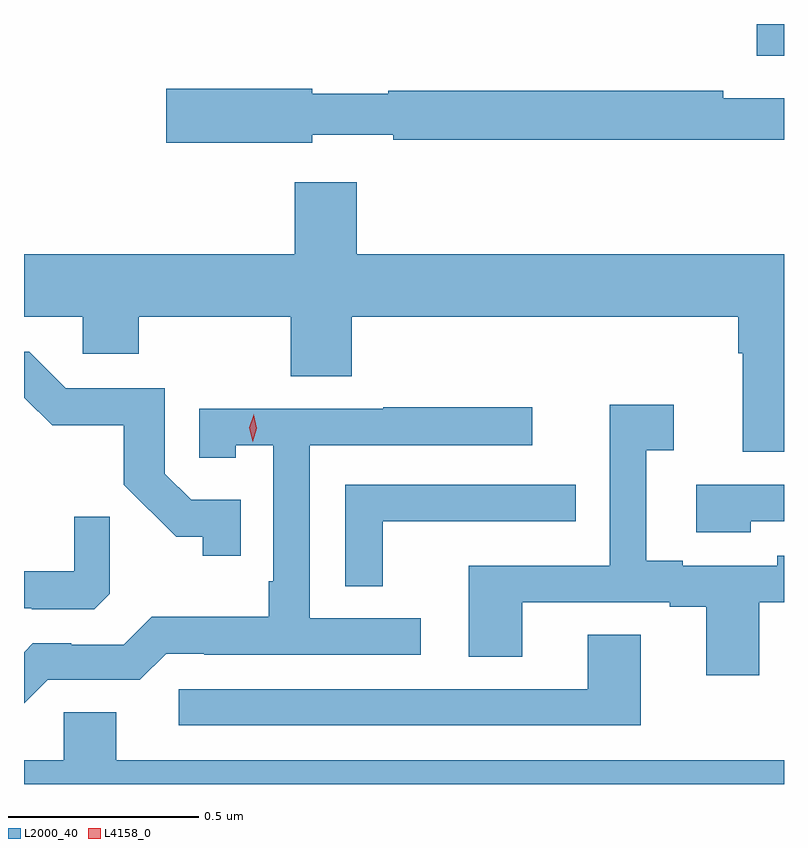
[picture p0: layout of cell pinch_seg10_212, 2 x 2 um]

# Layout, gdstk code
import gdstk
lib = gdstk.Library(unit=1e-6, precision=1e-09)
def R(c, l, rs):  # rectangles x0, y0, x1, y1
    for r in rs: c.add(gdstk.rectangle(r[:2], r[2:], *l))
def P(c, l, *ps):  # polygons
    for p in ps: c.add(gdstk.Polygon(p, *l))
L2000_40 = (2000, 40)
L4158_0 = (4158, 0)

pinch_seg10_212 = lib.new_cell('pinch_seg10_212')
R(pinch_seg10_212, L2000_40, [(777.612,1270.367,777.684,1270.45)])
P(pinch_seg10_212, L2000_40, [(776.442,1270.158),(776.656,1270.158),(776.656,1270.146),(777.684,1270.146),(777.684,1270.254),(777.524,1270.254),(777.524,1270.274),(776.642,1270.274),(776.642,1270.267),(776.442,1270.267),(776.442,1270.28),(776.058,1270.28),(776.058,1270.138),(776.442,1270.138)],
  [(777.684,1269.844),(776.56,1269.844),(776.56,1270.033),(776.396,1270.033),(776.396,1269.844),(775.684,1269.844),(775.684,1269.68),(775.839,1269.68),(775.839,1269.582),(775.986,1269.582),(775.986,1269.68),(776.386,1269.68),(776.386,1269.523),(776.546,1269.523),(776.546,1269.68),(777.563,1269.68),(777.563,1269.584),(777.575,1269.584),(777.575,1269.324),(777.684,1269.324)],
  [(776.255,1269.198),(776.124,1269.198),(776.055,1269.267),(776.055,1269.492),(775.794,1269.492),(775.698,1269.588),(775.684,1269.588),(775.684,1269.467),(775.758,1269.394),(775.947,1269.394),(775.947,1269.238),(776.084,1269.101),(776.154,1269.101),(776.154,1269.051),(776.255,1269.051)],
  [(777.619,1268.928),(777.684,1268.928),(777.684,1269.051),(777.666,1269.051),(777.666,1269.024),(777.418,1269.024),(777.418,1269.037),(777.322,1269.037),(777.322,1269.328),(777.394,1269.328),(777.394,1269.448),(777.225,1269.448),(777.225,1269.024),(776.855,1269.024),(776.855,1268.785),(776.995,1268.785),(776.995,1268.928),(777.383,1268.928),(777.383,1268.916),(777.479,1268.916),(777.479,1268.736),(777.619,1268.736)],
  [(775.746,1268.724),(775.989,1268.724),(776.058,1268.793),(776.158,1268.793),(776.158,1268.79),(776.728,1268.79),(776.728,1268.886),(776.436,1268.886),(776.436,1269.342),(777.022,1269.342),(777.022,1269.441),(776.629,1269.441),(776.629,1269.438),(776.145,1269.438),(776.145,1269.309),(776.241,1269.309),(776.241,1269.341),(776.34,1269.341),(776.34,1268.983),(776.328,1268.983),(776.328,1268.89),(776.02,1268.89),(775.947,1268.817),(775.808,1268.817),(775.808,1268.82),(775.707,1268.82),(775.684,1268.797),(775.684,1268.662)],
  [(777.597,1269.141),(777.684,1269.141),(777.684,1269.237),(777.453,1269.237),(777.453,1269.113),(777.597,1269.113)],
  [(776.628,1269.141),(777.023,1269.141),(777.023,1269.142),(777.136,1269.142),(777.136,1269.237),(776.529,1269.237),(776.529,1268.971),(776.628,1268.971)],
  [(775.91,1268.951),(775.91,1269.153),(775.816,1269.153),(775.816,1269.01),(775.684,1269.01),(775.684,1268.913),(775.704,1268.913),(775.704,1268.91),(775.869,1268.91)],
  [(777.307,1268.843),(777.167,1268.843),(777.167,1268.7),(776.091,1268.7),(776.091,1268.604),(777.307,1268.604)],
  [(777.684,1268.512),(775.927,1268.512),(775.927,1268.639),(775.788,1268.639),(775.788,1268.512),(775.684,1268.512),(775.684,1268.45),(777.684,1268.45)])
P(pinch_seg10_212, L4158_0, [(776.286,1269.351),(776.286,1269.351),(776.277,1269.387),(776.288,1269.422),(776.288,1269.423),(776.289,1269.422),(776.297,1269.386),(776.286,1269.351)])

lib.write_gds('pinch_seg10_212.gds')
